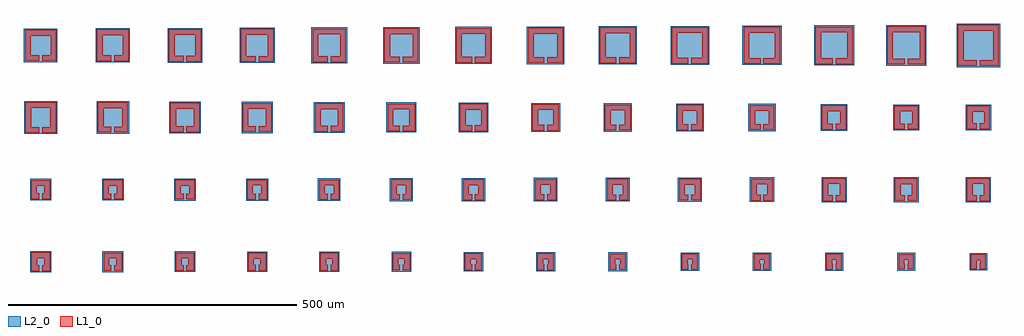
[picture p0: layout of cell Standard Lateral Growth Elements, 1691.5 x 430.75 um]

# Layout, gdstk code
import gdstk
lib = gdstk.Library(unit=1e-6, precision=1e-09)
def R(c, l, rs):  # rectangles x0, y0, x1, y1
    for r in rs: c.add(gdstk.rectangle(r[:2], r[2:], *l))
def P(c, l, *ps):  # polygons
    for p in ps: c.add(gdstk.Polygon(p, *l))
L1_0 = (1, 0)
L2_0 = (2, 0)

standard_lateral_growth_ = lib.new_cell('Standard Lateral Growth Elements')
P(standard_lateral_growth_, L1_0, [(-818.75,-193.75),(-815,-193.75),(-815,-203.75),(-828.75,-203.75),(-828.75,-171.25),(-796.25,-171.25),(-796.25,-203.75),(-810,-203.75),(-810,-193.75),(-806.25,-193.75),(-806.25,-181.25),(-818.75,-181.25)],
  [(-690,-203.5),(-703.5,-203.5),(-703.5,-171.5),(-671.5,-171.5),(-671.5,-203.5),(-685,-203.5),(-685,-193.5),(-681.5,-193.5),(-681.5,-181.5),(-693.5,-181.5),(-693.5,-193.5),(-690,-193.5)],
  [(-565,-203.25),(-578.25,-203.25),(-578.25,-171.75),(-546.75,-171.75),(-546.75,-203.25),(-560,-203.25),(-560,-193.25),(-556.75,-193.25),(-556.75,-181.75),(-568.25,-181.75),(-568.25,-193.25),(-565,-193.25)],
  [(-440,-203),(-453,-203),(-453,-172),(-422,-172),(-422,-203),(-435,-203),(-435,-193),(-432,-193),(-432,-182),(-443,-182),(-443,-193),(-440,-193)],
  [(-315,-202.75),(-327.75,-202.75),(-327.75,-172.25),(-297.25,-172.25),(-297.25,-202.75),(-310,-202.75),(-310,-192.75),(-307.25,-192.75),(-307.25,-182.25),(-317.75,-182.25),(-317.75,-192.75),(-315,-192.75)],
  [(-815,-79),(-829,-79),(-829,-46),(-796,-46),(-796,-79),(-810,-79),(-810,-69),(-806,-69),(-806,-56),(-819,-56),(-819,-69),(-815,-69)],
  [(-690,-79.25),(-704.25,-79.25),(-704.25,-45.75),(-670.75,-45.75),(-670.75,-79.25),(-685,-79.25),(-685,-69.25),(-680.75,-69.25),(-680.75,-55.75),(-694.25,-55.75),(-694.25,-69.25),(-690,-69.25)],
  [(-569.5,-69.5),(-565,-69.5),(-565,-79.5),(-579.5,-79.5),(-579.5,-45.5),(-545.5,-45.5),(-545.5,-79.5),(-560,-79.5),(-560,-69.5),(-555.5,-69.5),(-555.5,-55.5),(-569.5,-55.5)],
  [(-440,-79.75),(-454.75,-79.75),(-454.75,-45.25),(-420.25,-45.25),(-420.25,-79.75),(-435,-79.75),(-435,-69.75),(-430.25,-69.75),(-430.25,-55.25),(-444.75,-55.25),(-444.75,-69.75),(-440,-69.75)],
  [(-315,-80),(-330,-80),(-330,-45),(-295,-45),(-295,-80),(-310,-80),(-310,-70),(-305,-70),(-305,-55),(-320,-55),(-320,-70),(-315,-70)],
  [(-815,36),(-839,36),(-839,89),(-786,89),(-786,36),(-810,36),(-810,46),(-796,46),(-796,79),(-829,79),(-829,46),(-815,46)],
  [(-690,36.5),(-713.5,36.5),(-713.5,88.5),(-661.5,88.5),(-661.5,36.5),(-685,36.5),(-685,46.5),(-671.5,46.5),(-671.5,78.5),(-703.5,78.5),(-703.5,46.5),(-690,46.5)],
  [(-565,37),(-588,37),(-588,88),(-537,88),(-537,37),(-560,37),(-560,47),(-547,47),(-547,78),(-578,78),(-578,47),(-565,47)],
  [(-440,37.5),(-462.5,37.5),(-462.5,87.5),(-412.5,87.5),(-412.5,37.5),(-435,37.5),(-435,47.5),(-422.5,47.5),(-422.5,77.5),(-452.5,77.5),(-452.5,47.5),(-440,47.5)],
  [(-829.5,170.5),(-815,170.5),(-815,160.5),(-839.5,160.5),(-839.5,214.5),(-785.5,214.5),(-785.5,160.5),(-810,160.5),(-810,170.5),(-795.5,170.5),(-795.5,204.5),(-829.5,204.5)],
  [(-690,160),(-715,160),(-715,215),(-660,215),(-660,160),(-685,160),(-685,170),(-670,170),(-670,205),(-705,205),(-705,170),(-690,170)],
  [(-565,159.5),(-590.5,159.5),(-590.5,215.5),(-534.5,215.5),(-534.5,159.5),(-560,159.5),(-560,169.5),(-544.5,169.5),(-544.5,205.5),(-580.5,205.5),(-580.5,169.5),(-565,169.5)],
  [(-440,159),(-466,159),(-466,216),(-409,216),(-409,159),(-435,159),(-435,169),(-419,169),(-419,206),(-456,206),(-456,169),(-440,169)],
  [(-315,158.5),(-341.5,158.5),(-341.5,216.5),(-283.5,216.5),(-283.5,158.5),(-310,158.5),(-310,168.5),(-293.5,168.5),(-293.5,206.5),(-331.5,206.5),(-331.5,168.5),(-315,168.5)],
  [(-190,-202.5),(-202.5,-202.5),(-202.5,-172.5),(-172.5,-172.5),(-172.5,-202.5),(-185,-202.5),(-185,-192.5),(-182.5,-192.5),(-182.5,-182.5),(-192.5,-182.5),(-192.5,-192.5),(-190,-192.5)],
  [(-65,-202.25),(-77.25,-202.25),(-77.25,-172.75),(-47.75,-172.75),(-47.75,-202.25),(-60,-202.25),(-60,-192.25),(-57.75,-192.25),(-57.75,-182.75),(-67.25,-182.75),(-67.25,-192.25),(-65,-192.25)],
  [(58,-192),(60,-192),(60,-202),(48,-202),(48,-173),(77,-173),(77,-202),(65,-202),(65,-192),(67,-192),(67,-183),(58,-183)],
  [(185,-201.75),(173.25,-201.75),(173.25,-173.25),(201.75,-173.25),(201.75,-201.75),(190,-201.75),(190,-191.75),(191.75,-191.75),(191.75,-183.25),(183.25,-183.25),(183.25,-191.75),(185,-191.75)],
  [(-190,-80.25),(-205.25,-80.25),(-205.25,-44.75),(-169.75,-44.75),(-169.75,-80.25),(-185,-80.25),(-185,-70.25),(-179.75,-70.25),(-179.75,-54.75),(-195.25,-54.75),(-195.25,-70.25),(-190,-70.25)],
  [(-65,-80.5),(-80.5,-80.5),(-80.5,-44.5),(-44.5,-44.5),(-44.5,-80.5),(-60,-80.5),(-60,-70.5),(-54.5,-70.5),(-54.5,-54.5),(-70.5,-54.5),(-70.5,-70.5),(-65,-70.5)],
  [(60,-80.75),(44.25,-80.75),(44.25,-44.25),(80.75,-44.25),(80.75,-80.75),(65,-80.75),(65,-70.75),(70.75,-70.75),(70.75,-54.25),(54.25,-54.25),(54.25,-70.75),(60,-70.75)],
  [(185,-81),(169,-81),(169,-44),(206,-44),(206,-81),(190,-81),(190,-71),(196,-71),(196,-54),(179,-54),(179,-71),(185,-71)],
  [(310,-81.25),(293.75,-81.25),(293.75,-43.75),(331.25,-43.75),(331.25,-81.25),(315,-81.25),(315,-71.25),(321.25,-71.25),(321.25,-53.75),(303.75,-53.75),(303.75,-71.25),(310,-71.25)],
  [(-327,48),(-315,48),(-315,38),(-337,38),(-337,87),(-288,87),(-288,38),(-310,38),(-310,48),(-298,48),(-298,77),(-327,77)],
  [(-190,38.5),(-211.5,38.5),(-211.5,86.5),(-163.5,86.5),(-163.5,38.5),(-185,38.5),(-185,48.5),(-173.5,48.5),(-173.5,76.5),(-201.5,76.5),(-201.5,48.5),(-190,48.5)],
  [(-65,39),(-86,39),(-86,86),(-39,86),(-39,39),(-60,39),(-60,49),(-49,49),(-49,76),(-76,76),(-76,49),(-65,49)],
  [(60,39.5),(39.5,39.5),(39.5,85.5),(85.5,85.5),(85.5,39.5),(65,39.5),(65,49.5),(75.5,49.5),(75.5,75.5),(49.5,75.5),(49.5,49.5),(60,49.5)],
  [(185,40),(165,40),(165,85),(210,85),(210,40),(190,40),(190,50),(200,50),(200,75),(175,75),(175,50),(185,50)],
  [(310,40.5),(290.5,40.5),(290.5,84.5),(334.5,84.5),(334.5,40.5),(315,40.5),(315,50.5),(324.5,50.5),(324.5,74.5),(300.5,74.5),(300.5,50.5),(310,50.5)],
  [(-190,158),(-217,158),(-217,217),(-158,217),(-158,158),(-185,158),(-185,168),(-168,168),(-168,207),(-207,207),(-207,168),(-190,168)],
  [(-82.5,167.5),(-65,167.5),(-65,157.5),(-92.5,157.5),(-92.5,217.5),(-32.5,217.5),(-32.5,157.5),(-60,157.5),(-60,167.5),(-42.5,167.5),(-42.5,207.5),(-82.5,207.5)],
  [(60,157),(32,157),(32,218),(93,218),(93,157),(65,157),(65,167),(83,167),(83,208),(42,208),(42,167),(60,167)],
  [(185,156.5),(156.5,156.5),(156.5,218.5),(218.5,218.5),(218.5,156.5),(190,156.5),(190,166.5),(208.5,166.5),(208.5,208.5),(166.5,208.5),(166.5,166.5),(185,166.5)],
  [(310,-201.5),(298.5,-201.5),(298.5,-173.5),(326.5,-173.5),(326.5,-201.5),(315,-201.5),(315,-191.5),(316.5,-191.5),(316.5,-183.5),(308.5,-183.5),(308.5,-191.5),(310,-191.5)],
  [(435,-201.25),(423.75,-201.25),(423.75,-173.75),(451.25,-173.75),(451.25,-201.25),(440,-201.25),(440,-191.25),(441.25,-191.25),(441.25,-183.75),(433.75,-183.75),(433.75,-191.25),(435,-191.25)],
  [(560,-201),(549,-201),(549,-174),(576,-174),(576,-201),(565,-201),(565,-191),(566,-191),(566,-184),(559,-184),(559,-191),(560,-191)],
  [(685,-200.75),(674.25,-200.75),(674.25,-174.25),(700.75,-174.25),(700.75,-200.75),(690,-200.75),(690,-190.75),(690.75,-190.75),(690.75,-184.25),(684.25,-184.25),(684.25,-190.75),(685,-190.75)],
  [(809.5,-190.5),(810,-190.5),(810,-200.5),(799.5,-200.5),(799.5,-174.5),(825.5,-174.5),(825.5,-200.5),(815,-200.5),(815,-190.5),(815.5,-190.5),(815.5,-184.5),(809.5,-184.5)],
  [(435,-81.5),(418.5,-81.5),(418.5,-43.5),(456.5,-43.5),(456.5,-81.5),(440,-81.5),(440,-71.5),(446.5,-71.5),(446.5,-53.5),(428.5,-53.5),(428.5,-71.5),(435,-71.5)],
  [(560,-82.25),(542.75,-82.25),(542.75,-42.75),(582.25,-42.75),(582.25,-82.25),(565,-82.25),(565,-72.25),(572.25,-72.25),(572.25,-52.75),(552.75,-52.75),(552.75,-72.25),(560,-72.25)],
  [(685,-82),(668,-82),(668,-43),(707,-43),(707,-82),(690,-82),(690,-72),(697,-72),(697,-53),(678,-53),(678,-72),(685,-72)],
  [(810,-82.25),(792.75,-82.25),(792.75,-42.75),(832.25,-42.75),(832.25,-82.25),(815,-82.25),(815,-72.25),(822.25,-72.25),(822.25,-52.75),(802.75,-52.75),(802.75,-72.25),(810,-72.25)],
  [(435,41),(416,41),(416,84),(459,84),(459,41),(440,41),(440,51),(449,51),(449,74),(426,74),(426,51),(435,51)],
  [(560,41.5),(541.5,41.5),(541.5,83.5),(583.5,83.5),(583.5,41.5),(565,41.5),(565,51.5),(573.5,51.5),(573.5,73.5),(551.5,73.5),(551.5,51.5),(560,51.5)],
  [(677,52),(685,52),(685,42),(667,42),(667,83),(708,83),(708,42),(690,42),(690,52),(698,52),(698,73),(677,73)],
  [(810,42.5),(792.5,42.5),(792.5,82.5),(832.5,82.5),(832.5,42.5),(815,42.5),(815,52.5),(822.5,52.5),(822.5,72.5),(802.5,72.5),(802.5,52.5),(810,52.5)],
  [(310,156),(281,156),(281,219),(344,219),(344,156),(315,156),(315,166),(334,166),(334,209),(291,209),(291,166),(310,166)],
  [(435,155.5),(405.5,155.5),(405.5,219.5),(469.5,219.5),(469.5,155.5),(440,155.5),(440,165.5),(459.5,165.5),(459.5,209.5),(415.5,209.5),(415.5,165.5),(435,165.5)],
  [(560,155),(530,155),(530,220),(595,220),(595,155),(565,155),(565,165),(585,165),(585,210),(540,210),(540,165),(560,165)],
  [(685,154.5),(654.5,154.5),(654.5,220.5),(720.5,220.5),(720.5,154.5),(690,154.5),(690,164.5),(710.5,164.5),(710.5,210.5),(664.5,210.5),(664.5,164.5),(685,164.5)],
  [(810,152),(777,152),(777,223),(848,223),(848,152),(815,152),(815,162),(838,162),(838,213),(787,213),(787,162),(810,162)])
R(standard_lateral_growth_, L2_0, [(-830.75,-205.75,-794.25,-169.25), (-705.5,-205.5,-669.5,-169.5), (-580.25,-205.25,-544.75,-169.75), (-455,-205,-420,-170), (-329.75,-204.75,-295.25,-170.25), (-204.5,-204.5,-170.5,-170.5), (-79.25,-204.25,-45.75,-170.75), (46,-204,79,-171), (171.25,-203.75,203.75,-171.25), (296.5,-203.5,328.5,-171.5), (421.75,-203.25,453.25,-171.75), (547,-203,578,-172), (672.25,-202.75,702.75,-172.25), (797.5,-202.5,827.5,-172.5), (540.75,-84.25,584.25,-40.75), (790.75,-84.25,834.25,-40.75), (666,-84,709,-41), (416.5,-83.5,458.5,-41.5), (291.75,-83.25,333.25,-41.75), (167,-83,208,-42), (42.25,-82.75,82.75,-42.25), (-82.5,-82.5,-42.5,-42.5), (-207.25,-82.25,-167.75,-42.75), (-332,-82,-293,-43), (-456.75,-81.75,-418.25,-43.25), (-581.5,-81.5,-543.5,-43.5), (-706.25,-81.25,-668.75,-43.75), (-831,-81,-794,-44), (-841,34,-784,91), (-715.5,34.5,-659.5,90.5), (-590,35,-535,90), (-464.5,35.5,-410.5,89.5), (-339,36,-286,89), (-213.5,36.5,-161.5,88.5), (-88,37,-37,88), (37.5,37.5,87.5,87.5), (163,38,212,87), (288.5,38.5,336.5,86.5), (414,39,461,86), (539.5,39.5,585.5,85.5), (665,40,710,85), (790.5,40.5,834.5,84.5), (775,150,850,225), (652.5,152.5,722.5,222.5), (528,153,597,222), (403.5,153.5,471.5,221.5), (279,154,346,221), (154.5,154.5,220.5,220.5), (30,155,95,220), (-94.5,155.5,-30.5,219.5), (-219,156,-156,219), (-343.5,156.5,-281.5,218.5), (-468,157,-407,218), (-592.5,157.5,-532.5,217.5), (-717,158,-658,217), (-841.5,158.5,-783.5,216.5)])

lib.write_gds('Standard_Lateral_Growth_Elements.gds')
